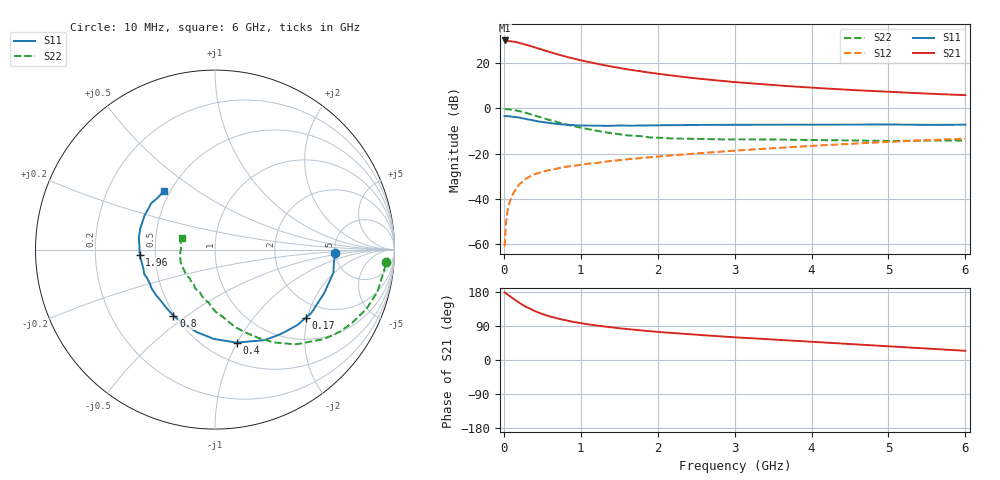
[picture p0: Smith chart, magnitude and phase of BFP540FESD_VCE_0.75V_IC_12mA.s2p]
! Infineon Technologies  Discrete & RF Semiconductors
! BFP540FESD
! VCE = 0.75 V,  IC =  12 mA
! Common Emitter S-Parameters:  Nov 2015
# GHz  S  MA  R  50
!  f  S11  S21  S12  S22
! GHz  MAG  ANG  MAG  ANG  MAG  ANG  MAG  ANG
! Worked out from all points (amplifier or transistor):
!   210 points, 10 MHz to 6 GHz, reference 50 ohm
!   highest |S21| = 30.0 dB at 10 MHz (marker M1)
!   |S21| within 3 dB of that: start of sweep to 397 MHz
!   unconditionally stable (mu >= 1): 2.006 GHz to end of sweep
!   at 185 MHz: K = 0.20, MSG = 31.6 dB, |S12| = -34.2 dB
!   at 1.52 GHz: K = 0.89, MSG = 20.3 dB, |S12| = -22.9 dB
!   at 6 GHz: K = 1.19, MAG = 7.0 dB, |S12| = -13.4 dB
!   S11 on the Smith chart (normalised r, x): 10 MHz: 5.06, -0.32; 170 MHz: 1.54, -1.96; 400 MHz: 0.69, -0.99; 800 MHz: 0.49, -0.45; 1.96 GHz: 0.41, -0.03; 6 GHz: 0.46, +0.37
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0.01  0.6713 -1.5  31.46 178.2  0.0009 101.8  0.9541 -4.0
0.02  0.6662 -5.9  30.72 177.1  0.0018 91.7  0.9634 -2.9
0.05  0.6723 -11.0  30.68 172.7  0.0056 82.7  0.949 -7.3
0.1  0.6551 -21.6  30.07 165.1  0.011 82.3  0.9347 -14.7
0.15  0.6425 -33.3  29.32 157.9  0.0158 75.2  0.9049 -21.6
0.17  0.6326 -36.9  28.72 155.2  0.0178 73.6  0.8878 -24.2
0.22  0.6105 -46.1  27.35 148.5  0.0224 70.2  0.8488 -30.6
0.3  0.5751 -61.3  25.13 139.0  0.0288 65.6  0.7808 -39.8
0.4  0.5321 -76.9  22.19 129.3  0.0349 60.8  0.6948 -49.4
0.5  0.498 -90.7  19.63 121.2  0.0396 57.0  0.6137 -57.5
0.6  0.4711 -102.4  17.31 114.8  0.0435 54.9  0.5466 -64.0
0.7  0.4488 -112.2  15.5 109.4  0.0469 53.5  0.493 -69.7
0.8  0.436 -122.1  13.9 104.7  0.0508 52.3  0.4449 -75.6
1.02  0.4151 -137.5  11.26 96.6  0.057 51.3  0.3661 -85.3
1.4  0.4102 -157.1  8.344 86.0  0.0685 50.6  0.2829 -102.0
1.96  0.4203 -176.0  5.91 74.9  0.0847 50.0  0.2257 -123.6
2.02  0.4207 -177.9  5.725 73.8  0.0862 49.8  0.224 -125.7
2.6  0.4302 170.7  4.389 65.2  0.1032 48.7  0.2099 -143.6
3.1  0.4323 163.2  3.674 58.8  0.1187 46.8  0.206 -152.0
4.1  0.4356 153.0  2.787 46.9  0.1509 42.2  0.1981 -168.1
5.1  0.4368 142.7  2.27 34.9  0.1842 35.1  0.19 175.9
6  0.4337 131.0  1.951 24.3  0.2138 28.1  0.1942 159.9
